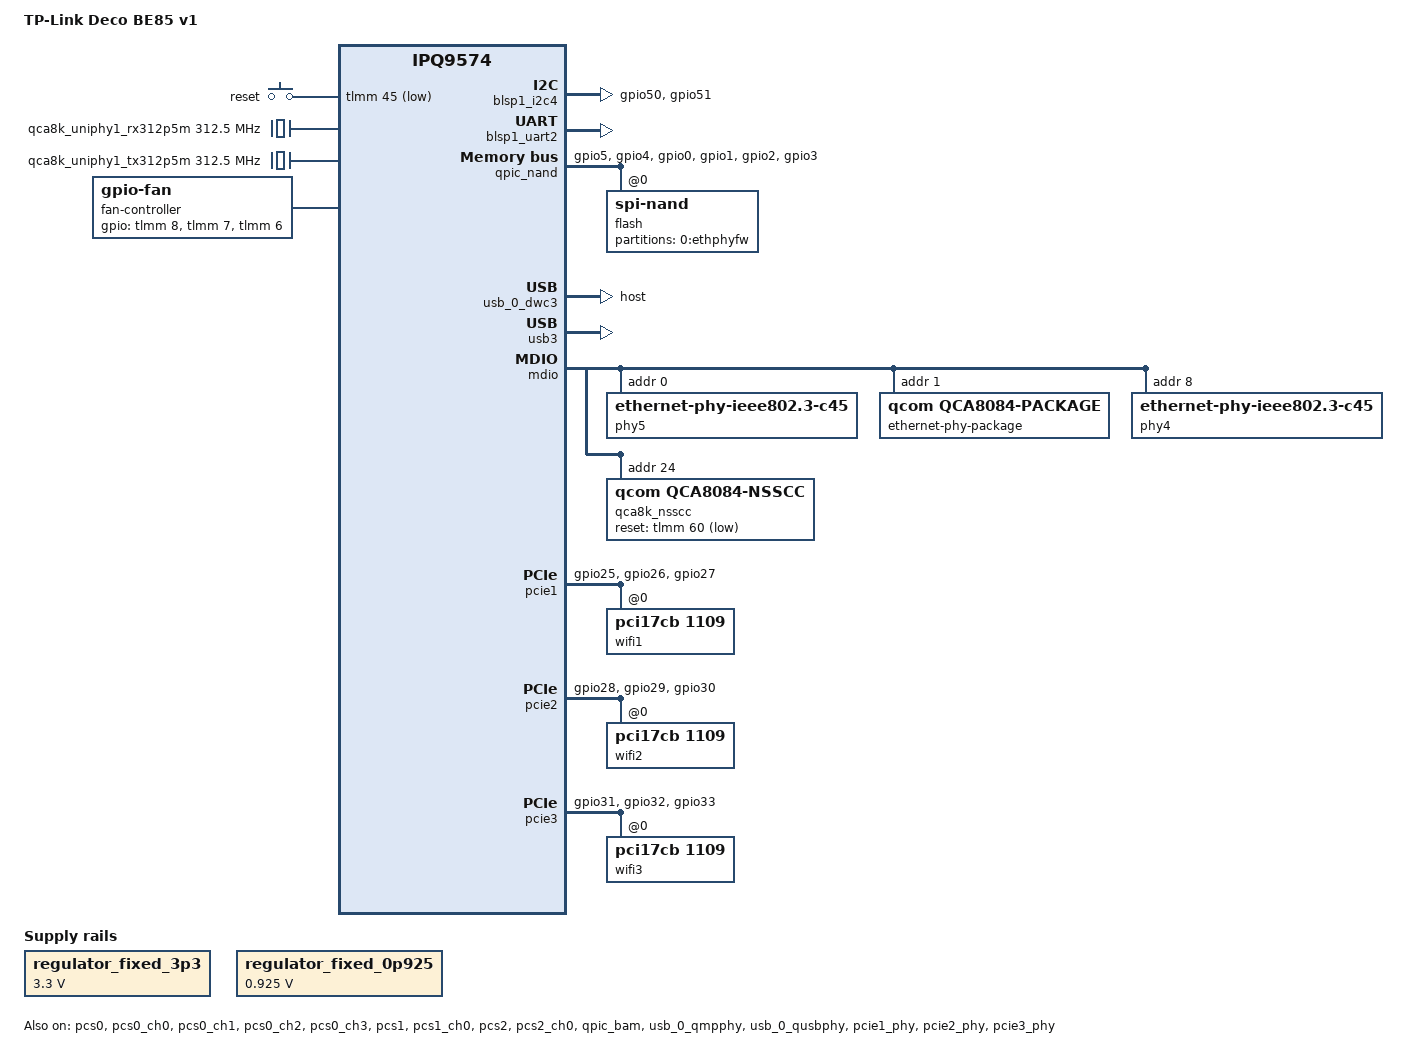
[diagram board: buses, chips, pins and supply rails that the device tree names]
/dts-v1/;

#include <dt-bindings/gpio/gpio.h>
#include <dt-bindings/input/input.h>
#include <dt-bindings/leds/common.h>
#include <dt-bindings/clock/qcom,qca8k-nsscc.h>
#include <dt-bindings/net/qcom,qca808x.h>
#include <dt-bindings/reset/qcom,qca8k-nsscc.h>
#include "ipq9574.dtsi"

/ {
	model = "TP-Link Deco BE85 v1";
	compatible = "tplink,deco-be85-v1", "qcom,ipq9574";

	aliases {
		serial0 = &blsp1_uart2;
	};

	chosen {
		stdout-path = "serial0:115200n8";
	};

	gpio-keys {
		compatible = "gpio-keys";
		pinctrl-0 = <&gpio_keys_default>;
		pinctrl-names = "default";

		button-reset {
			label = "reset";
			linux,code = <KEY_RESTART>;
			gpios = <&tlmm 45 GPIO_ACTIVE_LOW>;
		};
	};

	regulator_fixed_3p3: s3300 {
		compatible = "regulator-fixed";
		regulator-min-microvolt = <3300000>;
		regulator-max-microvolt = <3300000>;
		regulator-boot-on;
		regulator-always-on;
		regulator-name = "fixed_3p3";
	};

	regulator_fixed_0p925: s0925 {
		compatible = "regulator-fixed";
		regulator-min-microvolt = <925000>;
		regulator-max-microvolt = <925000>;
		regulator-boot-on;
		regulator-always-on;
		regulator-name = "fixed_0p925";
	};

	clocks {
		qca8k_uniphy1_rx312p5m: qca8k-uniphy1-rx312p5m {
			compatible = "fixed-clock";
			clock-frequency = <312500000>;
			#clock-cells = <0>;
		};

		qca8k_uniphy1_tx312p5m: qca8k-uniphy1-tx312p5m {
			compatible = "fixed-clock";
			clock-frequency = <312500000>;
			#clock-cells = <0>;
		};
	};

	i2c4_default: i2c4-default-state {
		pins = "gpio50", "gpio51";
		function = "blsp4_i2c";
		drive-strength = <8>;
		bias-pull-up;
	};

	fan-controller {
		compatible = "gpio-fan";
		pinctrl-names = "default";
		pinctrl-0 = <&fan_pins_default>;

		/*
		 * The controller handles two RS4010B12M-FA 12V/0.08A DC fans
		 * in parallel.
		 *
		 * +-------+-------+-------+-------+
		 * | GPIO6 | GPIO7 | GPIO8 |  RPM  |
		 * +-------+-------+-------+-------+
		 * |   L   |   L   |   L   | ~7000 |
		 * |   L   |   L   |   H   | ~5500 |
		 * |   L   |   H   |   L   | ~4500 |
		 * |   L   |   H   |   H   | ~3500 |
		 * |   H   |  ---  |  ---  |     0 |
		 * +-------+-------+-------+-------+
		 */
		gpio-fan,speed-map = <   0 7>, <   0 6>, <   0 5>, <   0 4>,
				     <3500 3>, <4500 2>, <5500 1>, <7000 0>;
		gpios = <&tlmm 8 GPIO_ACTIVE_HIGH>,
			<&tlmm 7 GPIO_ACTIVE_HIGH>,
			<&tlmm 6 GPIO_ACTIVE_HIGH>;

		#cooling-cells = <2>;
	};
};

&pcs0 {
        status = "okay";
};

&pcs0_ch0 {
        clocks = <&nsscc NSS_CC_UNIPHY_PORT1_RX_CLK>,
                 <&nsscc NSS_CC_UNIPHY_PORT1_TX_CLK>;
        clock-names = "rx",
                      "tx";
        status = "okay";
};

&pcs0_ch1 {
        clocks = <&nsscc NSS_CC_UNIPHY_PORT2_RX_CLK>,
                 <&nsscc NSS_CC_UNIPHY_PORT2_TX_CLK>;
        clock-names = "rx",
                      "tx";
        status = "okay";
};

&pcs0_ch2 {
        clocks = <&nsscc NSS_CC_UNIPHY_PORT3_RX_CLK>,
                 <&nsscc NSS_CC_UNIPHY_PORT3_TX_CLK>;
        clock-names = "rx",
                      "tx";
        status = "okay";
};

&pcs0_ch3 {
        clocks = <&nsscc NSS_CC_UNIPHY_PORT4_RX_CLK>,
                 <&nsscc NSS_CC_UNIPHY_PORT4_TX_CLK>;
        clock-names = "rx",
                      "tx";
        status = "okay";
};

&pcs1 {
        status = "okay";
};

&pcs1_ch0 {
        clocks = <&nsscc NSS_CC_UNIPHY_PORT5_RX_CLK>,
                 <&nsscc NSS_CC_UNIPHY_PORT5_TX_CLK>;
        clock-names = "rx",
                      "tx";
        status = "okay";
};

&pcs2{
        status = "okay";
};

&pcs2_ch0 {
        clocks = <&nsscc NSS_CC_UNIPHY_PORT6_RX_CLK>,
                 <&nsscc NSS_CC_UNIPHY_PORT6_TX_CLK>;
        clock-names = "rx",
                      "tx";
        status = "okay";
};

&blsp1_i2c4 {
	pinctrl-0 = <&i2c4_default>;
	pinctrl-names = "default";
	status = "okay";
};

&blsp1_uart2 {
	pinctrl-0 = <&uart2_pins>;
	pinctrl-names = "default";
	status = "okay";
};

&sleep_clk {
	clock-frequency = <32000>;
};

/*
 * The bootstrap pins for the board select the XO clock frequency
 * (48 MHZ or 96 MHZ used for different RDP type board). This setting
 * automatically enables the right dividers, to ensure the reference
 * clock output from WiFi to the CMN PLL is 48 MHZ.
 */
&ref_48mhz_clk {
	clock-div = <1>;
	clock-mult = <1>;
};

/*
 * The frequency of xo_board_clk is fixed to 24 MHZ, which is routed
 * from WiFi output clock 48 MHZ divided by 2.
 */
&xo_board_clk {
	clock-div = <2>;
	clock-mult = <1>;
};

&xo_clk {
	clock-frequency = <48000000>;
};

&tlmm {
	gpio_keys_default: gpio-keys-default-state {
		pins = "gpio37";
		function = "gpio";
		drive-strength = <8>;
		bias-pull-up;
	};

	qpic_snand_default_state: qpic-snand-default-state {
		clock-pins {
			pins = "gpio5";
			function = "qspi_clk";
			drive-strength = <8>;
			bias-disable;
		};

		cs-pins {
			pins = "gpio4";
			function = "qspi_cs";
			drive-strength = <8>;
			bias-disable;
		};

		data-pins {
			pins = "gpio0", "gpio1", "gpio2", "gpio3";
			function = "qspi_data";
			drive-strength = <8>;
			bias-disable;
		};
	};

	pcie1_default: pcie1-default-state {
		clkreq-n-pins {
			pins = "gpio25";
			function = "pcie1_clk";
			drive-strength = <6>;
			bias-pull-up;
		};

		perst-n-pins {
			pins = "gpio26";
			function = "gpio";
			drive-strength = <8>;
			bias-pull-down;
			output-low;
		};

		wake-n-pins {
			pins = "gpio27";
			function = "pcie1_wake";
			drive-strength = <6>;
			bias-pull-up;
		};
	};

	pcie2_default: pcie2-default-state {
		clkreq-n-pins {
			pins = "gpio28";
			function = "pcie2_clk";
			drive-strength = <6>;
			bias-pull-up;
		};

		perst-n-pins {
			pins = "gpio29";
			function = "gpio";
			drive-strength = <8>;
			bias-pull-down;
			output-low;
		};

		wake-n-pins {
			pins = "gpio30";
			function = "pcie2_wake";
			drive-strength = <6>;
			bias-pull-up;
		};
	};

	pcie3_default: pcie3-default-state {
		clkreq-n-pins {
			pins = "gpio31";
			function = "pcie3_clk";
			drive-strength = <6>;
			bias-pull-up;
		};

		perst-n-pins {
			pins = "gpio32";
			function = "gpio";
			drive-strength = <8>;
			bias-pull-up;
			output-low;
		};

		wake-n-pins {
			pins = "gpio33";
			function = "pcie3_wake";
			drive-strength = <6>;
			bias-pull-up;
		};
	};

	fan_pins_default: fan-pins-default-state {
		control-pins {
			pins = "gpio6", "gpio7", "gpio8";
			function = "gpio";
			drive-strength = <8>;
			bias-disable;
		};
	};
};

&qpic_bam {
	status = "okay";
};

&qpic_nand {
	pinctrl-0 = <&qpic_snand_default_state>;
	pinctrl-names = "default";
	status = "okay";

	flash@0 {
		compatible = "spi-nand";
		reg = <0>;
		#address-cells = <1>;
		#size-cells = <1>;
		nand-ecc-engine = <&qpic_nand>;
		nand-ecc-strength = <4>;
		nand-ecc-step-size = <512>;

		partitions {
			compatible = "qcom,smem-part";

			partition-0-ethphyfw {
				label = "0:ethphyfw";
				read-only;

				nvmem-layout {
					compatible = "fixed-layout";
					#address-cells = <1>;
					#size-cells = <1>;

					aqr_fw: aqr-fw@0 {
						reg = <0x28 0x60002>;
					};
				};
			};
		};
	};
};

&rpm_requests {
	regulators {
		compatible = "qcom,rpm-mp5496-regulators";

		ipq9574_s1: s1 {
		/*
		 * During kernel bootup, the SoC runs at 800MHz with 875mV set by the bootloaders.
		 * During regulator registration, kernel not knowing the initial voltage,
		 * considers it as zero and brings up the regulators with minimum supported voltage.
		 * Update the regulator-min-microvolt with SVS voltage of 725mV so that
		 * the regulators are brought up with 725mV which is sufficient for all the
		 * corner parts to operate at 800MHz
		 */
			regulator-min-microvolt = <725000>;
			regulator-max-microvolt = <1075000>;
		};

		mp5496_l2: l2 {
			regulator-min-microvolt = <850000>;
			regulator-max-microvolt = <850000>;
			regulator-always-on;
			regulator-boot-on;
		};

		mp5496_l5: l5 {
			regulator-min-microvolt = <1800000>;
			regulator-max-microvolt = <1800000>;
			regulator-always-on;
			regulator-boot-on;
		};
	};
};

&usb_0_dwc3 {
	dr_mode = "host";
};

&usb_0_qmpphy {
	reg = <0x7d000 0x1c4>;
	vdda-pll-supply = <&mp5496_l5>;
	vdda-phy-supply = <&regulator_fixed_0p925>;

	status = "okay";
};

&usb_0_qusbphy {
	vdd-supply = <&regulator_fixed_0p925>;
	vdda-pll-supply = <&mp5496_l5>;
	vdda-phy-dpdm-supply = <&regulator_fixed_3p3>;

	status = "okay";
};

&usb3 {
	status = "okay";
};

&mdio {
	clock-frequency = <6250000>;
	status = "okay";

	phy5: ethernet-phy@0 {
		compatible ="ethernet-phy-ieee802.3-c45";
		clocks = <&cmn_pll ETH1_50MHZ_CLK>;
		reg = <0>;
		nvmem-cells = <&aqr_fw>;
		nvmem-cell-names = "firmware";
		marvell,mdi-cfg-order = <1>;
	};

        ethernet-phy-package@1 {
            #address-cells = <1>;
            #size-cells = <0>;
            compatible = "qcom,qca8084-package";
            reg = <1>;
            clocks = <&qca8k_nsscc NSS_CC_APB_BRIDGE_CLK>,
                     <&qca8k_nsscc NSS_CC_AHB_CLK>,
                     <&qca8k_nsscc NSS_CC_SEC_CTRL_AHB_CLK>,
                     <&qca8k_nsscc NSS_CC_TLMM_CLK>,
                     <&qca8k_nsscc NSS_CC_TLMM_AHB_CLK>,
                     <&qca8k_nsscc NSS_CC_CNOC_AHB_CLK>,
                     <&qca8k_nsscc NSS_CC_MDIO_AHB_CLK>;
            clock-names = "apb_bridge",
                          "ahb",
                          "sec_ctrl_ahb",
                          "tlmm",
                          "tlmm_ahb",
                          "cnoc_ahb",
                          "mdio_ahb";
            qcom,package-mode = <QCA808X_PCS1_10G_QXGMII_PCS0_UNUNSED>;
            resets = <&qca8k_nsscc NSS_CC_GEPHY_FULL_ARES>;
            qcom,phy-addr-fixup = <1 2 3 4 5 6 7>;

	    phy0: ethernet-phy@1 {
                compatible = "ethernet-phy-id004d.d180";
                reg = <1>;
                clocks = <&qca8k_nsscc NSS_CC_GEPHY0_SYS_CLK>;
                resets = <&qca8k_nsscc NSS_CC_GEPHY0_SYS_ARES>;
                qcom,xpcs-channel = <0>;
            };

	    phy1: ethernet-phy@2 {
                compatible = "ethernet-phy-id004d.d180";
                reg = <2>;
                clocks = <&qca8k_nsscc NSS_CC_GEPHY1_SYS_CLK>;
                resets = <&qca8k_nsscc NSS_CC_GEPHY1_SYS_ARES>;
                qcom,xpcs-channel = <1>;
            };

	    phy2: ethernet-phy@3 {
                compatible = "ethernet-phy-id004d.d180";
                reg = <3>;
                clocks = <&qca8k_nsscc NSS_CC_GEPHY2_SYS_CLK>;
                resets = <&qca8k_nsscc NSS_CC_GEPHY2_SYS_ARES>;
                qcom,xpcs-channel = <2>;
            };

	    phy3: ethernet-phy@4 {
                compatible = "ethernet-phy-id004d.d180";
                reg = <4>;
                clocks = <&qca8k_nsscc NSS_CC_GEPHY3_SYS_CLK>;
                resets = <&qca8k_nsscc NSS_CC_GEPHY3_SYS_ARES>;
                qcom,xpcs-channel = <3>;
            };

            pcs-phy@6 {
                compatible = "qcom,qca8k-pcs-phy";
                reg = <6>;
                clocks = <&qca8k_nsscc NSS_CC_SRDS1_SYS_CLK>,
                         <&qca8k_uniphy1_tx312p5m>,
                         <&qca8k_uniphy1_rx312p5m>;
                clock-names = "pcs", "pcs_rx_root", "pcs_tx_root";
                resets = <&qca8k_nsscc NSS_CC_SRDS1_SYS_ARES>;
            };

            xpcs-phy@7 {
                compatible = "qcom,qca8k-xpcs-phy";
                reg = <7>;
                #address-cells = <1>;
                #size-cells = <0>;
                resets = <&qca8k_nsscc NSS_CC_XPCS_ARES>;

                channel@0 {
                    reg = <0>;
                    clocks = <&qca8k_nsscc NSS_CC_MAC1_SRDS1_CH0_XGMII_TX_CLK>,
                             <&qca8k_nsscc NSS_CC_MAC1_SRDS1_CH0_XGMII_RX_CLK>,
                             <&qca8k_nsscc NSS_CC_MAC1_SRDS1_CH0_TX_CLK>,
                             <&qca8k_nsscc NSS_CC_MAC1_SRDS1_CH0_RX_CLK>,
                             <&qca8k_nsscc NSS_CC_MAC1_GEPHY0_RX_CLK>,
                             <&qca8k_nsscc NSS_CC_MAC1_GEPHY0_TX_CLK>,
                             <&qca8k_nsscc NSS_CC_MAC1_RX_CLK_SRC>,
                             <&qca8k_nsscc NSS_CC_MAC1_TX_CLK_SRC>;
                    clock-names = "xgmii_rx",
                                  "xgmii_tx",
                                  "xpcs_rx",
                                  "xpcs_tx",
                                  "port_rx",
                                  "port_tx",
                                  "rx_src",
                                  "tx_src";
                    resets = <&qca8k_nsscc NSS_CC_MAC1_SRDS1_CH0_XGMII_TX_ARES>,
                             <&qca8k_nsscc NSS_CC_MAC1_SRDS1_CH0_XGMII_RX_ARES>,
                             <&qca8k_nsscc NSS_CC_MAC1_SRDS1_CH0_TX_ARES>,
                             <&qca8k_nsscc NSS_CC_MAC1_SRDS1_CH0_RX_ARES>,
                             <&qca8k_nsscc NSS_CC_MAC1_GEPHY0_RX_ARES>,
                             <&qca8k_nsscc NSS_CC_MAC1_GEPHY0_TX_ARES>;
                    reset-names = "xgmii_rx",
                                  "xgmii_tx",
                                  "xpcs_rx",
                                  "xpcs_tx",
                                  "port_rx",
                                  "port_tx";
                };

                channel@1 {
                    reg = <1>;
                    clocks = <&qca8k_nsscc NSS_CC_MAC2_SRDS1_CH1_XGMII_TX_CLK>,
                             <&qca8k_nsscc NSS_CC_MAC2_SRDS1_CH1_XGMII_RX_CLK>,
                             <&qca8k_nsscc NSS_CC_MAC2_SRDS1_CH1_TX_CLK>,
                             <&qca8k_nsscc NSS_CC_MAC2_SRDS1_CH1_RX_CLK>,
                             <&qca8k_nsscc NSS_CC_MAC2_GEPHY1_RX_CLK>,
                             <&qca8k_nsscc NSS_CC_MAC2_GEPHY1_TX_CLK>,
                             <&qca8k_nsscc NSS_CC_MAC2_RX_CLK_SRC>,
                             <&qca8k_nsscc NSS_CC_MAC2_TX_CLK_SRC>;
                    clock-names = "xgmii_rx",
                                  "xgmii_tx",
                                  "xpcs_rx",
                                  "xpcs_tx",
                                  "port_rx",
                                  "port_tx",
                                  "rx_src",
                                  "tx_src";
                    resets = <&qca8k_nsscc NSS_CC_MAC2_SRDS1_CH1_XGMII_TX_ARES>,
                             <&qca8k_nsscc NSS_CC_MAC2_SRDS1_CH1_XGMII_RX_ARES>,
                             <&qca8k_nsscc NSS_CC_MAC2_SRDS1_CH1_TX_ARES>,
                             <&qca8k_nsscc NSS_CC_MAC2_SRDS1_CH1_RX_ARES>,
                             <&qca8k_nsscc NSS_CC_MAC2_GEPHY1_RX_ARES>,
                             <&qca8k_nsscc NSS_CC_MAC2_GEPHY1_TX_ARES>;
                    reset-names = "xgmii_rx",
                                  "xgmii_tx",
                                  "xpcs_rx",
                                  "xpcs_tx",
                                  "port_rx",
                                  "port_tx";
                };

                channel@2 {
                    reg = <2>;
                    clocks = <&qca8k_nsscc NSS_CC_MAC3_SRDS1_CH2_XGMII_TX_CLK>,
                             <&qca8k_nsscc NSS_CC_MAC3_SRDS1_CH2_XGMII_RX_CLK>,
                             <&qca8k_nsscc NSS_CC_MAC3_SRDS1_CH2_TX_CLK>,
                             <&qca8k_nsscc NSS_CC_MAC3_SRDS1_CH2_RX_CLK>,
                             <&qca8k_nsscc NSS_CC_MAC3_GEPHY2_RX_CLK>,
                             <&qca8k_nsscc NSS_CC_MAC3_GEPHY2_TX_CLK>,
                             <&qca8k_nsscc NSS_CC_MAC3_RX_CLK_SRC>,
                             <&qca8k_nsscc NSS_CC_MAC3_TX_CLK_SRC>;
                    clock-names = "xgmii_rx",
                                  "xgmii_tx",
                                  "xpcs_rx",
                                  "xpcs_tx",
                                  "port_rx",
                                  "port_tx",
                                  "rx_src",
                                  "tx_src";
                    resets = <&qca8k_nsscc NSS_CC_MAC3_SRDS1_CH2_XGMII_TX_ARES>,
                             <&qca8k_nsscc NSS_CC_MAC3_SRDS1_CH2_XGMII_RX_ARES>,
                             <&qca8k_nsscc NSS_CC_MAC3_SRDS1_CH2_TX_ARES>,
                             <&qca8k_nsscc NSS_CC_MAC3_SRDS1_CH2_RX_ARES>,
                             <&qca8k_nsscc NSS_CC_MAC3_GEPHY2_RX_ARES>,
                             <&qca8k_nsscc NSS_CC_MAC3_GEPHY2_TX_ARES>;
                    reset-names = "xgmii_rx",
                                  "xgmii_tx",
                                  "xpcs_rx",
                                  "xpcs_tx",
                                  "port_rx",
                                  "port_tx";
                };

                channel@3 {
                    reg = <3>;
                    clocks = <&qca8k_nsscc NSS_CC_MAC4_SRDS1_CH3_XGMII_TX_CLK>,
                             <&qca8k_nsscc NSS_CC_MAC4_SRDS1_CH3_XGMII_RX_CLK>,
                             <&qca8k_nsscc NSS_CC_MAC4_SRDS1_CH3_TX_CLK>,
                             <&qca8k_nsscc NSS_CC_MAC4_SRDS1_CH3_RX_CLK>,
                             <&qca8k_nsscc NSS_CC_MAC4_GEPHY3_RX_CLK>,
                             <&qca8k_nsscc NSS_CC_MAC4_GEPHY3_TX_CLK>,
                             <&qca8k_nsscc NSS_CC_MAC4_RX_CLK_SRC>,
                             <&qca8k_nsscc NSS_CC_MAC4_TX_CLK_SRC>;
                    clock-names = "xgmii_rx",
                                  "xgmii_tx",
                                  "xpcs_rx",
                                  "xpcs_tx",
                                  "port_rx",
                                  "port_tx",
                                  "rx_src",
                                  "tx_src";
                    resets = <&qca8k_nsscc NSS_CC_MAC4_SRDS1_CH3_XGMII_TX_ARES>,
                             <&qca8k_nsscc NSS_CC_MAC4_SRDS1_CH3_XGMII_RX_ARES>,
                             <&qca8k_nsscc NSS_CC_MAC4_SRDS1_CH3_TX_ARES>,
                             <&qca8k_nsscc NSS_CC_MAC4_SRDS1_CH3_RX_ARES>,
                             <&qca8k_nsscc NSS_CC_MAC4_GEPHY3_RX_ARES>,
                             <&qca8k_nsscc NSS_CC_MAC4_GEPHY3_TX_ARES>;
                    reset-names = "xgmii_rx",
                                  "xgmii_tx",
                                  "xpcs_rx",
                                  "xpcs_tx",
                                  "port_rx",
                                  "port_tx";
                };
            };
        };

	phy4: ethernet-phy@8 {
		compatible ="ethernet-phy-ieee802.3-c45";
		clocks = <&cmn_pll ETH1_50MHZ_CLK>;
		reg = <8>;
		nvmem-cells = <&aqr_fw>;
		nvmem-cell-names = "firmware";
		marvell,mdi-cfg-order = <0>;
	};

	qca8k_nsscc: qca8k-nsscc@18 {
		compatible = "qcom,qca8084-nsscc";
		reg = <0x18>;
		#clock-cells = <1>;
		#reset-cells = <1>;
		reset-gpios = <&tlmm 60 GPIO_ACTIVE_LOW>;
		clocks = <&cmn_pll ETH0_50MHZ_CLK>,
			 <0>,
			 <0>,
			 <0>,
			 <0>,
			 <&qca8k_uniphy1_rx312p5m>,
			 <&qca8k_uniphy1_tx312p5m>;
	};
};

&qcom_ppe {
	ethernet-ports {
		#address-cells = <1>;
		#size-cells = <0>;

		port@3 {
			reg = <3>;
			phy-mode = "10g-qxgmii";
			label = "lan2";
			phy-handle = <&phy2>;
			pcs-handle = <&pcs0_ch2>;
			clocks = <&nsscc NSS_CC_PORT3_MAC_CLK>,
				 <&nsscc NSS_CC_PORT3_RX_CLK>,
				 <&nsscc NSS_CC_PORT3_TX_CLK>;
			clock-names = "mac",
				      "rx",
				      "tx";
			resets = <&nsscc PORT3_MAC_ARES>,
				 <&nsscc PORT3_RX_ARES>,
				 <&nsscc PORT3_TX_ARES>;
			reset-names = "mac",
				      "rx",
				      "tx";
		};

		port@4 {
			reg = <4>;
			phy-mode = "10g-qxgmii";
			label = "lan1";
			phy-handle = <&phy3>;
			pcs-handle = <&pcs0_ch3>;
			clocks = <&nsscc NSS_CC_PORT4_MAC_CLK>,
				 <&nsscc NSS_CC_PORT4_RX_CLK>,
				 <&nsscc NSS_CC_PORT4_TX_CLK>;
			clock-names = "mac",
				      "rx",
				      "tx";
			resets = <&nsscc PORT4_MAC_ARES>,
				 <&nsscc PORT4_RX_ARES>,
				 <&nsscc PORT4_TX_ARES>;
			reset-names = "mac",
				      "rx",
				      "tx";
		};

		port@5 {
			reg = <5>;
			phy-mode = "usxgmii";
			managed = "in-band-status";
			label = "wan";
			phy-handle = <&phy4>;
			pcs-handle = <&pcs1_ch0>;
			clocks = <&nsscc NSS_CC_PORT5_MAC_CLK>,
				 <&nsscc NSS_CC_PORT5_RX_CLK>,
				 <&nsscc NSS_CC_PORT5_TX_CLK>;
			clock-names = "mac",
				      "rx",
				      "tx";
			resets = <&nsscc PORT5_MAC_ARES>,
				 <&nsscc PORT5_RX_ARES>,
				 <&nsscc PORT5_TX_ARES>;
			reset-names = "mac",
				      "rx",
				      "tx";
		};

		port@6 {
			reg = <6>;
			phy-mode = "usxgmii";
			managed = "in-band-status";
			label = "lan3";
			phy-handle = <&phy5>;
			pcs-handle = <&pcs2_ch0>;
			clocks = <&nsscc NSS_CC_PORT6_MAC_CLK>,
				 <&nsscc NSS_CC_PORT6_RX_CLK>,
				 <&nsscc NSS_CC_PORT6_TX_CLK>;
			clock-names = "mac",
				      "rx",
				      "tx";
			resets = <&nsscc PORT6_MAC_ARES>,
				 <&nsscc PORT6_RX_ARES>,
				 <&nsscc PORT6_TX_ARES>;
			reset-names = "mac",
				      "rx",
				      "tx";
		};
	};
 };

&pcie1_phy {
	status = "okay";
};

&pcie1 {
	pinctrl-0 = <&pcie1_default>;
	pinctrl-names = "default";

	perst-gpios = <&tlmm 26 GPIO_ACTIVE_LOW>;
	wake-gpios = <&tlmm 27 GPIO_ACTIVE_LOW>;
	status = "okay";

	pcie@0,0 { /* PCIe bridge/root */
        #address-cells = <3>;
        #size-cells    = <2>;
        reg = <0 0 0 0 0>;

        wifi1: pcie@0 {
            compatible = "pci17cb,1109";

            reg = <0 0 0 0 0>;

            qcom,board_id = <0x01>;
        };
    };
};

&pcie2_phy {
	status = "okay";
};

&pcie2 {
	pinctrl-0 = <&pcie2_default>;
	pinctrl-names = "default";

	perst-gpios = <&tlmm 29 GPIO_ACTIVE_LOW>;
	wake-gpios = <&tlmm 30 GPIO_ACTIVE_LOW>;
	status = "okay";

	pcie@0,0 { /* PCIe bridge/root */
        #address-cells = <3>;
        #size-cells    = <2>;
        reg = <0 0 0 0 0>;

        wifi2: pcie@0 {
            compatible = "pci17cb,1109";

            reg = <0 0 0 0 0>;

            qcom,board_id = <0x02>;
        };
    };
};

&pcie3_phy {
	status = "okay";
};

&pcie3 {
	pinctrl-0 = <&pcie3_default>;
	pinctrl-names = "default";

	perst-gpios = <&tlmm 32 GPIO_ACTIVE_LOW>;
	wake-gpios = <&tlmm 33 GPIO_ACTIVE_LOW>;
	status = "okay";

	pcie@0,0 { /* PCIe bridge/root */
        #address-cells = <3>;
        #size-cells    = <2>;
        reg = <0 0 0 0 0>;

        wifi3: pcie@0 {
            compatible = "pci17cb,1109";

            reg = <0 0 0 0 0>;

            qcom,board_id = <0x04>;
        };
    };
};
